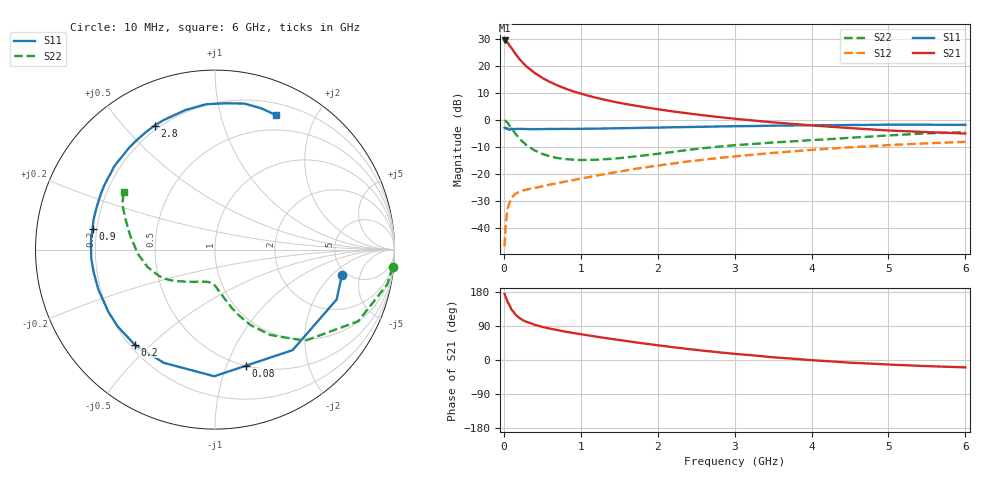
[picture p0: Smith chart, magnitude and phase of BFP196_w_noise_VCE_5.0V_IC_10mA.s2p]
! Infineon Technologies  Discrete & RF Semiconductors
! BFP196
! VCE =  5.0 V,  IC =  10 mA
! Common Emitter S-Parameters:  Jan 2017
# GHz  S  MA  R  50
!  f  S11  S21  S12  S22
! GHz  MAG  ANG  MAG  ANG  MAG  ANG  MAG  ANG
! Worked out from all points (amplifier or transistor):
!   77 points, 10 MHz to 6 GHz, reference 50 ohm
!   highest |S21| = 29.5 dB at 10 MHz (marker M1)
!   |S21| within 3 dB of that: start of sweep to 104.6 MHz
!   unconditionally stable (mu >= 1): 989.3 MHz to 2.369 GHz
!   at 130 MHz: K = 0.23, MSG = 26.6 dB, |S12| = -27.7 dB
!   at 2.2 GHz: K = 1.02, MAG = 8.7 dB, |S12| = -16.0 dB
!   at 6 GHz: K = 0.92, MSG = 1.5 dB, |S12| = -8.0 dB
!   lowest NFmin = 0.99 dB at 450 MHz
!   S11 on the Smith chart (normalised r, x): 10 MHz: 4.54, -2.67; 80 MHz: 0.50, -1.17; 200 MHz: 0.22, -0.44; 900 MHz: 0.18, +0.08; 2.8 GHz: 0.18, +0.61; 6 GHz: 0.32, +1.50
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0.01  0.7211 -11.3  29.91 174.2  0.0047 83.4  0.9954 -5.6
0.02  0.7325 -22.3  29.85 168.5  0.0097 83.8  0.9792 -11.4
0.05  0.7076 -52.3  27.12 152.5  0.0232 65.9  0.8923 -26.6
0.08  0.6695 -75.2  23.48 141.8  0.0311 56.0  0.7745 -36.9
0.1  0.7057 -90.3  21.64 132.8  0.0367 51.9  0.7134 -45.4
0.15  0.6925 -114.4  17 120.0  0.044 43.3  0.566 -57.1
0.2  0.6934 -130.3  13.76 111.3  0.0473 39.2  0.4658 -64.7
0.25  0.6908 -141.6  11.44 104.7  0.0505 37.1  0.394 -69.7
0.3  0.6881 -149.7  9.737 100.2  0.0525 35.6  0.3421 -73.7
0.4  0.687 -161.1  7.507 92.9  0.0561 37.0  0.277 -79.1
0.5  0.6876 -169.4  6.067 87.4  0.0599 38.2  0.2394 -83.3
0.6  0.6912 -175.7  5.105 82.8  0.065 40.2  0.2151 -87.2
0.7  0.6908 179.4  4.39 78.8  0.0683 42.1  0.1997 -90.2
0.9  0.6919 170.4  3.433 71.4  0.0783 45.6  0.1873 -96.9
1.1  0.6983 163.0  2.836 64.9  0.0886 48.2  0.185 -103.4
1.5  0.7128 150.2  2.104 52.8  0.1124 50.5  0.1992 -116.7
2.1  0.7366 132.7  1.526 36.4  0.152 49.5  0.2498 -134.6
2.8  0.7687 116.0  1.145 20.2  0.2009 44.8  0.3266 -150.6
3.1  0.7783 109.6  1.035 14.6  0.2212 42.0  0.3533 -157.4
4.1  0.8115 91.8  0.786 -1.7  0.2897 31.6  0.4374 -179.3
5.1  0.8285 77.2  0.639 -12.8  0.3526 19.6  0.5337 160.0
6  0.8225 65.7  0.568 -19.5  0.3998 8.7  0.6022 147.7
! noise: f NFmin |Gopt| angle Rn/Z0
0.45  0.99  0.35  147  0.06
0.9  1.29  0.5  174  0.05
1.9  2.4  0.7  -139  0.25
2.4  2.9  0.73  -123  0.68
